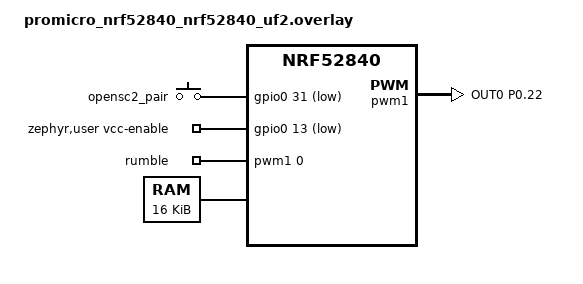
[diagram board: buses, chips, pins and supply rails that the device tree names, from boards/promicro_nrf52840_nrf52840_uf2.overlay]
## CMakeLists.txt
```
# Copyright (c) 2026 the OpenSC2-Controller authors
# SPDX-License-Identifier: MIT
cmake_minimum_required(VERSION 3.20.0)

# The OpenSC2 library is a Zephyr module: the OpenSC2-Controller repository. Inside the repository
# it is found here. In a copy of this folder elsewhere, set ZEPHYR_EXTRA_MODULES to your
# OpenSC2-Controller folder (environment variable, or -DZEPHYR_EXTRA_MODULES=<folder>), or list the
# repository in your west manifest (docs/integration.md).
if(EXISTS ${CMAKE_CURRENT_LIST_DIR}/../../zephyr/module.yml AND
   EXISTS ${CMAKE_CURRENT_LIST_DIR}/../../include/opensc2/opensc2.h)
  list(APPEND ZEPHYR_EXTRA_MODULES ${CMAKE_CURRENT_LIST_DIR}/../..)
endif()

find_package(Zephyr REQUIRED HINTS $ENV{ZEPHYR_BASE})
project(opensc2_rumble LANGUAGES C)

target_sources(app PRIVATE src/main.c)
```

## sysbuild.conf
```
# The Partition Manager (the NCS default for nRF chips) would ignore the board's flash partitions:
# the application would not land at the UF2 bootloader's application address, and the settings
# could end up inside the bootloader. Use the devicetree partitions.
SB_CONFIG_PARTITION_MANAGER=n
```

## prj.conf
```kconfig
# Copyright (c) 2026 the OpenSC2-Controller authors
# SPDX-License-Identifier: MIT
#
# Rumble and haptics on a PWM-driven vibration motor, wired or wireless.
# The SuperMini's own lines (its clock) are in boards/promicro_nrf52840_nrf52840_uf2.conf.

# The library. The puck sends packets of up to 128 bytes; the real controller keeps two replies
# queued.
CONFIG_OPENSC2=y
CONFIG_ESB_MAX_PAYLOAD_LENGTH=128
CONFIG_ESB_TX_FIFO_SIZE=2

# The motor on a PWM output, and the pairing button (gpio-keys).
CONFIG_GPIO=y
CONFIG_INPUT=y
CONFIG_PWM=y

# Wired mode (the overlay chooses the HID node). The library runs the USB device, so the board's
# own serial port does not start at boot; in wireless mode the library shows it as the console.
# Eight report buffers, and room on the stacks for the vendor commands that write flash.
CONFIG_CDC_ACM_SERIAL_INITIALIZE_AT_BOOT=n
CONFIG_USBD_HID_IN_BUF_COUNT=8
CONFIG_USBD_THREAD_STACK_SIZE=2048
CONFIG_SYSTEM_WORKQUEUE_STACK_SIZE=2048

# Bonds survive a reboot in Zephyr settings, on NVS in the board's storage partition. Steam's
# pairing over the cable stores the bond and then reboots the board: without these it is lost.
CONFIG_FLASH=y
CONFIG_FLASH_MAP=y
CONFIG_NVS=y
CONFIG_SETTINGS=y
CONFIG_SETTINGS_NVS=y

# Log and shell on the USB serial port in wireless mode ("opensc2 status", "opensc2 state"). The
# shell prints the log, so the plain UART log output is off (it would print every line twice).
# While wired the log goes into the USB session log, and the log thread needs a bigger stack.
CONFIG_LOG=y
CONFIG_LOG_PROCESS_THREAD_STACK_SIZE=1536
CONFIG_SHELL=y
CONFIG_LOG_BACKEND_UART=n
CONFIG_SHELL_PROMPT_UART="opensc2:~$ "
CONFIG_MAIN_STACK_SIZE=2048
```

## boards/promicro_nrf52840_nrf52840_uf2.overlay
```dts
/*
 * Copyright (c) 2026 the OpenSC2-Controller authors
 * SPDX-License-Identifier: MIT
 *
 * SuperMini / Pro Micro nRF52840 with a vibration motor (ERM) driven by a PWM output. Never drive
 * a motor straight from the pin: use a logic-level MOSFET (gate on P0.22, motor between VCC or
 * BAT+ and the drain, a flyback diode across the motor) or a ready-made MOSFET module. (An LRA
 * needs a driver chip set up over I2C, which this sample does not do: see README.md.)
 *
 *   P0.22 PWM to the MOSFET gate or driver input    P0.31 pairing button (to GND)
 */
#include <zephyr/dt-bindings/pwm/pwm.h>
#include <dt-bindings/opensc2/inputs.h>

/ {
	opensc2_buttons: opensc2_buttons {
		compatible = "gpio-keys";
		debounce-interval-ms = <5>;
		/* Held while plugging in: this boot is wireless. Pressed and released while wired:
		 * back to wireless mode. Pressed while wireless: answers an open pairing window. */
		opensc2_pair: pair {
			gpios = <&gpio0 31 (GPIO_PULL_UP | GPIO_ACTIVE_LOW)>;
			zephyr,code = <OPENSC2_KEY_PAIR>;
		};
	};

	zephyr,user {
		/* 5 kHz: above what a motor reacts to, low enough for any MOSFET. The firmware finds
		 * the channel by its name. */
		pwms = <&pwm1 0 PWM_USEC(200) PWM_POLARITY_NORMAL>;
		pwm-names = "rumble";
		/* nice!nano-style boards switch VCC with P0.13 (low = on); check yours. */
		vcc-enable-gpios = <&gpio0 13 GPIO_ACTIVE_LOW>;
	};

	/* Wired mode: the USB HID function of the wired Steam Controller 2 (64-byte reports, 1 ms),
	 * and 16 KB of RAM that a soft reset keeps (the warm-restart mark, the USB session log), clear
	 * of the RAM the UF2 bootloader uses at every reset (docs/porting.md). */
	chosen {
		opensc2,usb-hid = &opensc2_hid;
		opensc2,retained-ram = &opensc2_retained;
	};

	opensc2_hid: opensc2_hid {
		compatible = "zephyr,hid-device";
		in-report-size = <64>;
		in-polling-period-us = <1000>;
		out-report-size = <64>;
		out-polling-period-us = <1000>;
	};

	opensc2_retained: memory@2002c000 {
		compatible = "zephyr,memory-region", "mmio-sram";
		reg = <0x2002c000 DT_SIZE_K(16)>;
		zephyr,memory-region = "OPENSC2_RETAINED";
	};
};

/* The application's RAM ends below the retained area (176 KB of the 256). */
&sram0 {
	reg = <0x20000000 DT_SIZE_K(176)>;
};

/* The PWM output on P0.22. Any free pin works: the nRF52840 routes PWM to any GPIO. */
&pinctrl {
	pwm1_motor_default: pwm1_motor_default {
		group1 {
			psels = <NRF_PSEL(PWM_OUT0, 0, 22)>;
		};
	};
	pwm1_motor_sleep: pwm1_motor_sleep {
		group1 {
			psels = <NRF_PSEL(PWM_OUT0, 0, 22)>;
			low-power-enable;
		};
	};
};

&pwm1 {
	status = "okay";
	pinctrl-0 = <&pwm1_motor_default>;
	pinctrl-1 = <&pwm1_motor_sleep>;
	pinctrl-names = "default", "sleep";
};
```

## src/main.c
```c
/*
 * Copyright (c) 2026 the OpenSC2-Controller authors
 * SPDX-License-Identifier: MIT
 *
 * Rumble and haptics on one PWM-driven vibration motor, wired or wireless. The real controller has
 * four actuators that play tones; a motor can only buzz, so:
 *   rumble (report 0x80): duty cycle = the stronger of the two motor speeds. Steam repeats the
 *       report while it wants rumble; the library sends speed 0 when it stops (or the link drops).
 *   clicks, pulses, tones, sweeps and scripts (0x81..0x85): a short buzz; "stop all" stops it.
 *   PCM streams (0x86..0x89): ignored, a motor cannot play samples.
 * The callbacks run in the library's radio thread (wireless) or in the USB stack's thread (wired;
 * lizard mode's own haptic events, its pad ticks and clicks, in the USB report thread), so they
 * only set the PWM and schedule work.
 * There is no power_request callback: the library does the reboots Steam asks for itself, and it
 * ignores Steam's request to enter a bootloader for a firmware update.
 */
#include <zephyr/kernel.h>
#include <zephyr/drivers/gpio.h>
#include <zephyr/drivers/pwm.h>
#include <zephyr/input/input.h>
#include <zephyr/logging/log.h>
#include <opensc2/opensc2.h>

LOG_MODULE_REGISTER(rumble, LOG_LEVEL_INF);

/* ---- The pairing button: the same rules in every sample ------------------------------------- */

static const struct gpio_dt_spec pair_pin = GPIO_DT_SPEC_GET(DT_NODELABEL(opensc2_pair), gpios);
static bool pair_held_at_boot;   /* the press that chose wireless: ignored until it is released */
static bool pair_down;

/* Is the button held while the board starts? gpio-keys has already set the pin up with its
 * pull-up. Read twice, 5 ms apart: a bouncing contact counts as released. */
static bool pair_held(void)
{
	if (!gpio_is_ready_dt(&pair_pin) || gpio_pin_get_dt(&pair_pin) != 1) {
		return false;
	}
	k_msleep(5);
	return gpio_pin_get_dt(&pair_pin) == 1;
}

/* Wired: pressed and released, reboot into wireless mode (on the release, so that the button is
 * up again at the next boot). Wireless: pressed, answer a puck's open pairing window (untested
 * with Steam, which pairs controllers over the cable). */
static void pair_button(bool pressed)
{
	if (pair_held_at_boot) {
		pair_held_at_boot = pressed;   /* released: a normal button from now on */
		return;
	}
	if (opensc2_mode() == OPENSC2_MODE_WIRED) {
		if (pair_down && !pressed) {
			opensc2_reboot_later(OPENSC2_REBOOT_WIRELESS, "pair button", 0);
		}
	} else if (pressed) {
		opensc2_pair_start(0);   /* 0: the default window, 60 s */
	}
	pair_down = pressed;
}

static void on_button(struct input_event *evt, void *user_data)
{
	ARG_UNUSED(user_data);
	if (evt->type == INPUT_EV_KEY && evt->code == OPENSC2_KEY_PAIR) {
		pair_button(evt->value != 0);
	}
}
INPUT_CALLBACK_DEFINE(DEVICE_DT_GET(DT_NODELABEL(opensc2_buttons)), on_button, NULL);

/* ---- The motor ------------------------------------------------------------------------------- */

static const struct pwm_dt_spec motor = PWM_DT_SPEC_GET_BY_NAME(DT_PATH(zephyr_user), rumble);
static const struct gpio_dt_spec vcc = GPIO_DT_SPEC_GET(DT_PATH(zephyr_user), vcc_enable_gpios);
static uint32_t rumble_level, buzz_level;   /* 0..65535 */

static void apply(void)
{
	uint32_t level = MAX(rumble_level, buzz_level);

	if (pwm_is_ready_dt(&motor)) {
		pwm_set_pulse_dt(&motor, (uint32_t)((uint64_t)motor.period * level / 65535));
	}
}

static void buzz_off(struct k_work *work)
{
	ARG_UNUSED(work);
	buzz_level = 0;
	apply();
}
static K_WORK_DELAYABLE_DEFINE(buzz_work, buzz_off);

/* A buzz of `ms` milliseconds (10 to 1000); 0 stops a buzz at once. */
static void buzz(uint32_t ms)
{
	if (ms == 0) {
		(void)k_work_cancel_delayable(&buzz_work);
		buzz_level = 0;
	} else {
		buzz_level = 52000;   /* about 80 % */
		k_work_reschedule(&buzz_work, K_MSEC(CLAMP(ms, 10, 1000)));
	}
	apply();
}

static void on_rumble(const struct opensc2_rumble *r, void *user_data)
{
	ARG_UNUSED(user_data);
	rumble_level = MAX(r->left_speed, r->right_speed);
	apply();
}

static void on_haptic(const struct opensc2_haptic *h, void *user_data)
{
	ARG_UNUSED(user_data);
	switch (h->kind) {
	case OPENSC2_HAPTIC_COMMAND:
		if (h->command.command == OPENSC2_HAPTIC_CMD_STOP_ALL) {
			buzz(0);
		} else {
			buzz(h->command.command == OPENSC2_HAPTIC_CMD_CLICK_A ? 20 : 35);
		}
		break;
	case OPENSC2_HAPTIC_PULSE:
		buzz((uint32_t)h->pulse.count * (h->pulse.on_us + h->pulse.off_us) / 1000);
		break;
	case OPENSC2_HAPTIC_TONE:
		buzz(h->tone.duration_ms);
		break;
	case OPENSC2_HAPTIC_SWEEP:
		buzz(h->sweep.duration_ms);
		break;
	case OPENSC2_HAPTIC_SCRIPT:
		buzz(120);
		break;
	default:
		break;   /* PCM streams need an actuator that can play samples */
	}
}

int main(void)
{
	static const struct opensc2_callbacks callbacks = {
		.rumble = on_rumble,
		.haptic = on_haptic,
	};
	struct opensc2_config config = { .callbacks = &callbacks, .start = true };
	int err;

	gpio_pin_configure_dt(&vcc, GPIO_OUTPUT_ACTIVE);   /* for a motor or driver on VCC */
	if (pwm_is_ready_dt(&motor)) {
		pwm_set_pulse_dt(&motor, 0);   /* motor off */
	} else {
		LOG_ERR("The PWM output is not ready: no rumble");
	}

	if (pair_held()) {
		pair_held_at_boot = true;
		config.boot_mode = OPENSC2_BOOT_WIRELESS;   /* held while plugging in: wireless */
	}
	err = opensc2_init(&config);
	if (err) {
		/* The console still starts (in wireless mode), so this can be read there. */
		LOG_ERR("opensc2_init failed (%d)", err);
	}
	return 0;
}
```
